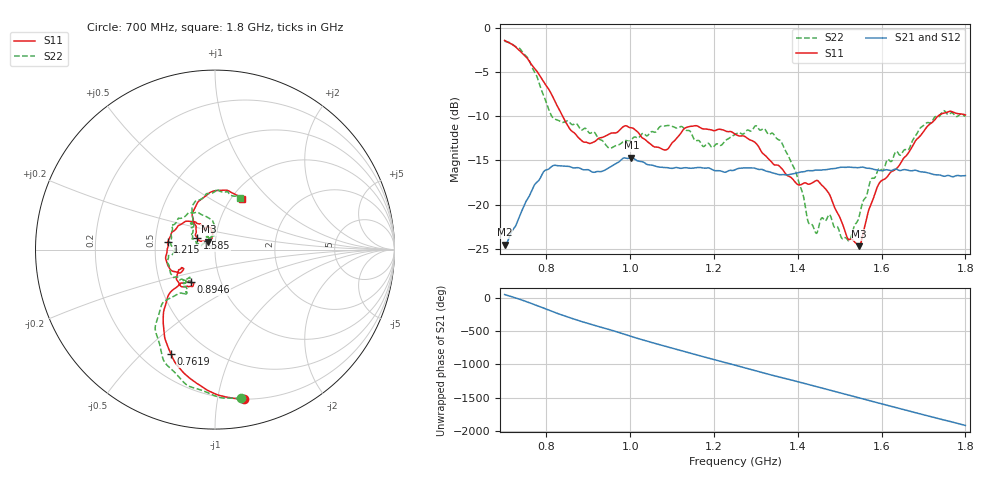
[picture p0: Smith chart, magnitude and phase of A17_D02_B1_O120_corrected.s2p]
! Created with skrf 1.9.0 (http://scikit-rf.org).
# Hz S RI R 50.0
!freq ReS11 ImS11 ReS21 ImS21 ReS12 ImS12 ReS22 ImS22
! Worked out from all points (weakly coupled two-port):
!   1601 points, 700 MHz to 1.8 GHz, reference 50 ohm
!   highest |S21| = -14.69 dB at 1.002 GHz (marker M1); lowest = -24.6 dB at 700.7 MHz (marker M2)
!   lowest |S11| = -24.7 dB at 1.546 GHz (marker M3), VSWR 1.12, Z = 46.3 + j4.17 ohm
!   |S11| at or under -10 dB: 838.7 MHz to 1.734 GHz (895.4 MHz wide, 69.6 % of centre)
!   |S22| runs from -24.1 to -1.5 dB; largest |S21 - S12| = 0.0034
!   S11 on the Smith chart (normalised r, x): 700 MHz: 0.20, -1.19; 761.9 MHz: 0.32, -0.62; 894.6 MHz: 0.72, -0.27; 1.215 GHz: 0.58, +0.05; 1.585 GHz: 0.81, +0.10; 1.8 GHz: 1.12, +0.71
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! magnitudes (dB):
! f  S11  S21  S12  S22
! 700 MHz  -1.4  -24.5  -24.3  -1.5
! 700.7 MHz  -1.4  -24.6  -24.3  -1.5
! 761.9 MHz  -4.0  -18.7  -18.7  -4.0
! 814.1 MHz  -7.7  -15.6  -15.7  -10.1
! 883.6 MHz  -12.7  -16.0  -15.9  -11.6
! 894.6 MHz  -12.9  -16.0  -16.1  -11.4
! 950.2 MHz  -12.0  -15.8  -15.8  -13.6
! 1.002 GHz  -11.3  -14.7  -14.8  -12.7
! 1.067 GHz  -13.5  -15.7  -15.7  -11.4
! 1.138 GHz  -11.2  -15.9  -15.8  -11.6
! 1.215 GHz  -11.5  -16.2  -16.2  -13.3
! 1.25 GHz  -12.0  -16.1  -16.0  -12.1
! 1.3 GHz  -13.1  -15.9  -15.9  -11.1
! 1.359 GHz  -15.8  -16.6  -16.6  -12.8
! 1.434 GHz  -17.6  -16.2  -16.1  -22.3
! 1.476 GHz  -18.9  -16.0  -16.0  -21.1
! 1.522 GHz  -24.0  -15.8  -15.8  -24.1
! 1.546 GHz  -24.7  -15.8  -15.8  -21.4
! 1.585 GHz  -18.6  -16.1  -16.1  -16.9
! 1.617 GHz  -16.6  -16.1  -16.1  -14.9
! 1.737 GHz  -9.9  -16.6  -16.7  -10.0
! 1.8 GHz  -9.9  -16.7  -16.7  -10.0
